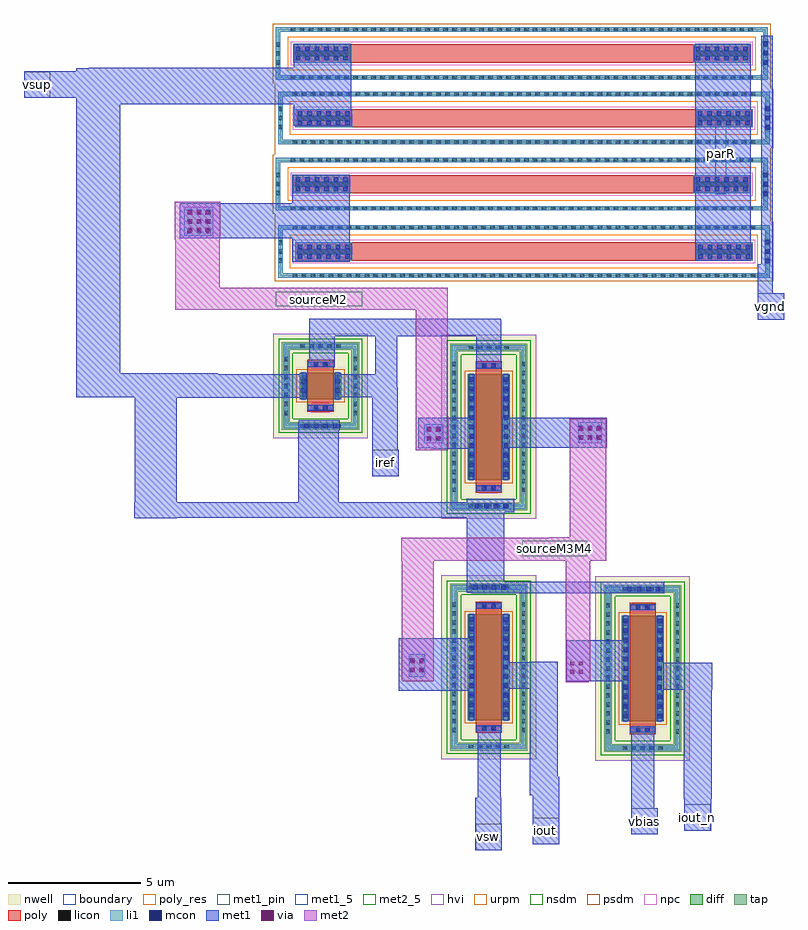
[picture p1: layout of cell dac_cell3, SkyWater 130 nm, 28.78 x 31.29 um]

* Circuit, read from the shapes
.subckt dac_cell3 iout iout_n iref parR sourceM2 sourceM3M4 vbias vgnd vsup vsw
XM1 iref iref vsup vsup sky130_fd_pr__pfet_g5v0d10v5 w=1 l=1
XM2 iout vsw sourceM3M4 vsup sky130_fd_pr__pfet_g5v0d10v5 w=4 l=1
XM3 sourceM3M4 iref sourceM2 vsup sky130_fd_pr__pfet_g5v0d10v5 w=4 l=1
XM4 iout_n vbias sourceM3M4 vsup sky130_fd_pr__pfet_g5v0d10v5 w=4 l=1
XR5 parR sourceM2 vgnd sky130_fd_pr__res_xhigh_po w=0.69 l=13 m=2
XR6 parR vsup vgnd sky130_fd_pr__res_xhigh_po w=0.69 l=13 m=2
.ends

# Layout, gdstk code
from math import pi, radians
import gdstk
lib = gdstk.Library(unit=1e-6, precision=1e-09)
def R(c, l, rs):  # rectangles x0, y0, x1, y1
    for r in rs: c.add(gdstk.rectangle(r[:2], r[2:], *l))
def A(c, l, x, y, w, h, nx, ny, dx, dy):  # array of equal rectangles
    R(c, l, [(x+i*dx, y+j*dy, x+i*dx+w, y+j*dy+h) for i in range(nx) for j in range(ny)])
nwell = (64, 20)
diff = (65, 20)
tap = (65, 44)
poly_res = (66, 13)
poly = (66, 20)
licon = (66, 44)
li1 = (67, 20)
mcon = (67, 44)
met1_5 = (68, 5)
met1_pin = (68, 16)
met1 = (68, 20)
via = (68, 44)
met2_5 = (69, 5)
met2 = (69, 20)
hvi = (75, 20)
urpm = (79, 20)
nsdm = (93, 44)
psdm = (94, 20)
npc = (95, 20)
boundary = (235, 4)

sky130_fd_pr__res_xhigh_ = lib.new_cell('sky130_fd_pr__res_xhigh_po_0p69_RV3JGD')
R(sky130_fd_pr__res_xhigh_, tap, [(-0.995,-9.31,0.995,-9.14), (-0.995,-9.14,-0.825,9.14), (0.825,-9.14,0.995,9.14), (-0.995,9.14,0.995,9.31)])
R(sky130_fd_pr__res_xhigh_, poly_res, [(-0.345,-6.56,0.345,6.56)])
R(sky130_fd_pr__res_xhigh_, poly, [(-0.345,-8.66,0.345,8.66)])
A(sky130_fd_pr__res_xhigh_, licon, -0.425, -9.31, 0.17, 0.17, 3, 2, 0.34, 18.45)
A(sky130_fd_pr__res_xhigh_, licon, -0.995, -8.755, 0.17, 0.17, 1, 52, 0, 0.34)
A(sky130_fd_pr__res_xhigh_, licon, 0.825, -8.755, 0.17, 0.17, 1, 52, 0, 0.34)
R(sky130_fd_pr__res_xhigh_, licon, [(-0.095,-8.58,0.095,-6.58), (-0.095,6.58,0.095,8.58)])
R(sky130_fd_pr__res_xhigh_, li1, [(-0.995,-9.31,0.995,-9.14), (-0.995,-9.14,-0.825,9.14), (0.825,-9.14,0.995,9.14), (-0.345,-8.66,0.345,-6.5), (-0.345,6.5,0.345,8.66), (-0.995,9.14,0.995,9.31)])
A(sky130_fd_pr__res_xhigh_, mcon, -0.265, -8.565, 0.17, 0.17, 1, 6, 0, 0.36)
A(sky130_fd_pr__res_xhigh_, mcon, 0.095, -8.565, 0.17, 0.17, 1, 6, 0, 0.36)
A(sky130_fd_pr__res_xhigh_, mcon, -0.265, 6.59, 0.17, 0.17, 1, 6, 0, 0.36)
A(sky130_fd_pr__res_xhigh_, mcon, 0.095, 6.59, 0.17, 0.17, 1, 6, 0, 0.36)
R(sky130_fd_pr__res_xhigh_, met1, [(-0.295,-8.63,0.295,-6.525), (-0.295,6.525,0.295,8.63)])
R(sky130_fd_pr__res_xhigh_, urpm, [(-0.635,-8.86,0.635,8.86)])
R(sky130_fd_pr__res_xhigh_, psdm, [(-1.12,-9.435,1.12,9.435)])
R(sky130_fd_pr__res_xhigh_, npc, [(-0.44,-8.755,0.44,8.755)])
R(sky130_fd_pr__res_xhigh_, boundary, [(-0.91,-9.225,0.91,9.225)])

sky130_fd_pr__pfet_g5v0d = lib.new_cell('sky130_fd_pr__pfet_g5v0d10v5_FGR8VM')
R(sky130_fd_pr__pfet_g5v0d, nwell, [(-1.79,-3.485,1.79,3.485)])
R(sky130_fd_pr__pfet_g5v0d, diff, [(-0.79,-2,0.79,2)])
R(sky130_fd_pr__pfet_g5v0d, tap, [(-1.46,-3.155,1.46,-2.865), (-1.46,-2.865,-1.17,2.865), (1.17,-2.865,1.46,2.865), (-1.46,2.865,1.46,3.155)])
R(sky130_fd_pr__pfet_g5v0d, poly, [(-0.5,-2.485,0.5,2.485)])
A(sky130_fd_pr__pfet_g5v0d, licon, -0.765, -3.095, 0.17, 0.17, 5, 2, 0.34, 6.02)
A(sky130_fd_pr__pfet_g5v0d, licon, -1.4, -2.465, 0.17, 0.17, 1, 15, 0, 0.34)
A(sky130_fd_pr__pfet_g5v0d, licon, 1.23, -2.465, 0.17, 0.17, 1, 15, 0, 0.34)
A(sky130_fd_pr__pfet_g5v0d, licon, -0.73, -1.785, 0.17, 0.17, 1, 11, 0, 0.34)
A(sky130_fd_pr__pfet_g5v0d, licon, 0.56, -1.785, 0.17, 0.17, 1, 11, 0, 0.34)
R(sky130_fd_pr__pfet_g5v0d, licon, [(-0.255,-2.405,-0.085,-2.235), (0.085,-2.405,0.255,-2.235), (-0.255,2.235,-0.085,2.405), (0.085,2.235,0.255,2.405)])
R(sky130_fd_pr__pfet_g5v0d, li1, [(-1.4,-3.095,1.4,-2.925), (-1.4,-2.925,-1.23,2.925), (1.23,-2.925,1.4,2.925), (-0.5,-2.405,0.5,-2.235), (-0.73,-2.02,-0.56,2.02), (0.56,-2.02,0.73,2.02), (-0.5,2.235,0.5,2.405), (-1.4,2.925,1.4,3.095)])
A(sky130_fd_pr__pfet_g5v0d, mcon, -0.73, -1.885, 0.17, 0.17, 1, 11, 0, 0.36)
A(sky130_fd_pr__pfet_g5v0d, mcon, 0.56, -1.885, 0.17, 0.17, 1, 11, 0, 0.36)
R(sky130_fd_pr__pfet_g5v0d, mcon, [(-0.265,-2.405,-0.095,-2.235), (0.095,-2.405,0.265,-2.235), (-0.265,2.235,-0.095,2.405), (0.095,2.235,0.265,2.405)])
R(sky130_fd_pr__pfet_g5v0d, met1, [(-0.48,-2.435,0.48,-2.205), (-0.76,-2,-0.53,2), (0.53,-2,0.76,2), (-0.48,2.205,0.48,2.435)])
R(sky130_fd_pr__pfet_g5v0d, hvi, [(-1.79,-3.485,1.79,3.485)])
R(sky130_fd_pr__pfet_g5v0d, nsdm, [(-1.585,-3.28,1.585,-2.74), (-1.585,-2.74,-1.045,2.74), (1.045,-2.74,1.585,2.74), (-1.585,2.74,1.585,3.28)])
R(sky130_fd_pr__pfet_g5v0d, psdm, [(-0.915,-2.125,0.915,2.125)])
R(sky130_fd_pr__pfet_g5v0d, npc, [(-0.355,-2.505,0.355,-2.135), (-0.355,2.135,0.355,2.505)])
R(sky130_fd_pr__pfet_g5v0d, boundary, [(-1.315,-3.01,1.315,3.01)])

c_sky130_fd_pr__pfet_g5v0d = lib.new_cell('sky130_fd_pr__pfet_g5v0d10v5_FGUWVM#2')
R(c_sky130_fd_pr__pfet_g5v0d, nwell, [(-1.79,-1.985,1.79,1.985)])
R(c_sky130_fd_pr__pfet_g5v0d, diff, [(-0.79,-0.5,0.79,0.5)])
R(c_sky130_fd_pr__pfet_g5v0d, tap, [(-1.46,-1.655,1.46,-1.365), (-1.46,-1.365,-1.17,1.365), (1.17,-1.365,1.46,1.365), (-1.46,1.365,1.46,1.655)])
R(c_sky130_fd_pr__pfet_g5v0d, poly, [(-0.5,-0.985,0.5,0.985)])
A(c_sky130_fd_pr__pfet_g5v0d, licon, -0.765, -1.595, 0.17, 0.17, 5, 2, 0.34, 3.02)
A(c_sky130_fd_pr__pfet_g5v0d, licon, -1.4, -1.105, 0.17, 0.17, 1, 7, 0, 0.34)
A(c_sky130_fd_pr__pfet_g5v0d, licon, 1.23, -1.105, 0.17, 0.17, 1, 7, 0, 0.34)
A(c_sky130_fd_pr__pfet_g5v0d, licon, -0.73, -0.425, 0.17, 0.17, 1, 3, 0, 0.34)
A(c_sky130_fd_pr__pfet_g5v0d, licon, 0.56, -0.425, 0.17, 0.17, 1, 3, 0, 0.34)
R(c_sky130_fd_pr__pfet_g5v0d, licon, [(-0.255,-0.905,-0.085,-0.735), (0.085,-0.905,0.255,-0.735), (-0.255,0.735,-0.085,0.905), (0.085,0.735,0.255,0.905)])
R(c_sky130_fd_pr__pfet_g5v0d, li1, [(-1.4,-1.595,1.4,-1.425), (-1.4,-1.425,-1.23,1.425), (1.23,-1.425,1.4,1.425), (-0.5,-0.905,0.5,-0.735), (-0.73,-0.52,-0.56,0.52), (0.56,-0.52,0.73,0.52), (-0.5,0.735,0.5,0.905), (-1.4,1.425,1.4,1.595)])
R(c_sky130_fd_pr__pfet_g5v0d, mcon, [(-0.265,-0.905,-0.095,-0.735), (0.095,-0.905,0.265,-0.735), (-0.73,-0.265,-0.56,-0.095), (0.56,-0.265,0.73,-0.095), (-0.73,0.095,-0.56,0.265), (0.56,0.095,0.73,0.265), (-0.265,0.735,-0.095,0.905), (0.095,0.735,0.265,0.905)])
R(c_sky130_fd_pr__pfet_g5v0d, met1, [(-0.48,-0.935,0.48,-0.705), (-0.76,-0.5,-0.53,0.5), (0.53,-0.5,0.76,0.5), (-0.48,0.705,0.48,0.935)])
R(c_sky130_fd_pr__pfet_g5v0d, hvi, [(-1.79,-1.985,1.79,1.985)])
R(c_sky130_fd_pr__pfet_g5v0d, nsdm, [(-1.585,-1.78,1.585,-1.24), (-1.585,-1.24,-1.045,1.24), (1.045,-1.24,1.585,1.24), (-1.585,1.24,1.585,1.78)])
R(c_sky130_fd_pr__pfet_g5v0d, psdm, [(-0.915,-0.625,0.915,0.625)])
R(c_sky130_fd_pr__pfet_g5v0d, npc, [(-0.355,-1.005,0.355,-0.635), (-0.355,0.635,0.355,1.005)])
R(c_sky130_fd_pr__pfet_g5v0d, boundary, [(-1.315,-1.51,1.315,1.51)])

dac_cell3 = lib.new_cell('dac_cell3')
R(dac_cell3, li1, [(-8.95,-4.02,-8.33,-3.17), (-0.81,-0.8,0.69,-0.62), (-6.64,-0.74,-5.18,-0.55), (-6.63,2.36,-5.04,2.53), (-8.37,4.81,-7.64,5.54), (-2.54,4.81,-1.64,5.61), (-12.96,5.39,-11.61,5.56), (4.53,11.56,4.73,12.6), (-17.45,12.67,-16.35,13.77), (4.46,14.1,4.66,15.14), (4.54,16.62,4.74,17.66), (4.46,19.07,4.66,20.11)])
A(dac_cell3, mcon, -0.685, -0.795, 0.17, 0.17, 4, 1, 0.36, 0)
A(dac_cell3, mcon, -6.535, -0.73, 0.17, 0.17, 4, 1, 0.36, 0)
A(dac_cell3, mcon, -6.46, 2.36, 0.17, 0.17, 4, 1, 0.36, 0)
A(dac_cell3, mcon, -2.535, 4.945, 0.17, 0.17, 3, 2, 0.36, 0.36)
A(dac_cell3, mcon, -12.91, 5.39, 0.17, 0.17, 4, 1, 0.36, 0)
A(dac_cell3, mcon, 4.545, 11.635, 0.17, 0.17, 1, 3, 0, 0.36)
A(dac_cell3, mcon, -17.345, 12.775, 0.17, 0.17, 3, 3, 0.36, 0.36)
A(dac_cell3, mcon, 4.475, 14.175, 0.17, 0.17, 1, 3, 0, 0.36)
A(dac_cell3, mcon, 4.555, 16.695, 0.17, 0.17, 1, 3, 0, 0.36)
A(dac_cell3, mcon, 4.475, 19.145, 0.17, 0.17, 1, 3, 0, 0.36)
R(dac_cell3, mcon, [(-8.905,-3.86,-8.735,-3.69), (-8.545,-3.86,-8.375,-3.69), (-8.905,-3.5,-8.735,-3.33), (-8.545,-3.5,-8.375,-3.33), (-8.27,4.91,-8.1,5.08), (-7.91,4.91,-7.74,5.08), (-8.27,5.27,-8.1,5.44), (-7.91,5.27,-7.74,5.44)])
R(dac_cell3, met1_5, [(2.65,14.25,3.08,17.33)])
R(dac_cell3, met1_pin, [(-6.42,-10.59,-5.42,-9.59), (-4.26,-10.36,-3.26,-9.36), (-0.53,-10,0.47,-9), (1.48,-9.85,2.48,-8.85), (-10.33,3.57,-9.33,4.57), (4.26,9.49,5.26,10.49), (-23.52,17.89,-22.52,18.89)])
R(dac_cell3, met1, [(-6.43,-10.59,-5.42,-9.59), (-4.26,-10.36,-3.26,-8.51), (-0.53,-10,0.47,-9), (1.48,-9.85,2.51,-8.64), (-6.43,-9.59,-5.45,-8.6), (-0.53,-9,0.35,-8.42), (1.47,-8.64,2.52,-4.52), (-6.34,-8.6,-5.47,-5.89), (-4.36,-8.51,-3.26,-7.82), (-0.52,-8.42,0.35,-5.91), (-4.36,-7.82,-3.31,-4.49), (-9.32,-4.56,-6.52,-2.57), (0.47,-4.52,2.54,-3.5), (-5.37,-4.49,-3.3,-3.47), (-2.98,-4.2,-0.63,-2.64), (-4.36,-3.47,-3.31,-3.45), (-0.88,-0.87,0.73,-0.86), (-6.57,-0.86,0.73,-0.85), (-6.74,-0.85,0.73,-0.83), (-6.75,-0.83,0.73,-0.42), (-6.75,-0.42,-5.33,2), (-19.33,1.98,-17.74,1.99), (-19.34,1.99,-12.58,2), (-19.34,2,-5.33,2.2), (-19.34,2.2,-4.95,2.58), (-19.33,2.58,-17.74,6.54), (-13.14,2.58,-11.61,5.3), (-6.75,2.58,-4.95,2.71), (-10.33,3.57,-9.33,4.57), (-10.33,4.57,-9.37,6.56), (-8,4.61,-6.49,4.63), (-8.59,4.63,-6.49,5.78), (-5.4,4.64,-1.46,5.79), (-13.14,5.3,-11.56,5.62), (-13.12,5.62,-11.56,5.68), (-19.33,6.54,-12.85,6.55), (-21.55,6.55,-12.85,7.42), (-11.73,6.56,-9.37,6.92), (-11.73,6.92,-9.38,7.43), (-21.55,7.42,-16.18,7.47), (-10.21,7.43,-9.38,8.87), (-21.55,7.47,-19.87,17.66), (-6.39,7.65,-5.45,8.87), (-12.72,7.7,-11.75,8.87), (-12.72,8.87,-5.45,9.5), (4.26,9.49,5.26,10.49), (-12.72,9.5,-5.46,9.53), (4.26,10.49,4.84,11.6), (4.39,11.6,4.84,20.25), (-13.36,11.69,-11.19,12.58), (1.89,11.72,4.01,19.95), (-17.63,12.58,-11.19,13.9), (-13.36,13.9,-11.19,14.99), (-13.31,16.84,-11.12,17.66), (-21.55,17.66,-11.12,17.89), (-23.52,17.89,-11.12,18.9), (-21.55,18.9,-11.12,19.02), (-21.05,19.02,-11.12,19.04), (-13.31,19.04,-11.12,19.95)])
A(dac_cell3, via, -2.485, 4.975, 0.15, 0.15, 3, 2, 0.32, 0.32)
A(dac_cell3, via, -17.295, 12.825, 0.15, 0.15, 3, 3, 0.32, 0.32)
R(dac_cell3, via, [(-2.825,-3.92,-2.675,-3.77), (-2.505,-3.92,-2.355,-3.77), (-8.875,-3.83,-8.725,-3.68), (-8.555,-3.83,-8.405,-3.68), (-2.825,-3.6,-2.675,-3.45), (-2.505,-3.6,-2.355,-3.45), (-8.875,-3.51,-8.725,-3.36), (-8.555,-3.51,-8.405,-3.36), (-8.24,4.94,-8.09,5.09), (-7.92,4.94,-7.77,5.09), (-8.24,5.26,-8.09,5.41), (-7.92,5.26,-7.77,5.41)])
R(dac_cell3, met2_5, [(-4.66,0.53,-2.19,1.12), (-13.99,10,-10.72,10.55)])
R(dac_cell3, met2, [(-3.01,-4.23,-2.13,-4.2), (-3.01,-4.2,-2.07,0.36), (-9.18,-4.19,-8.01,-4.16), (-9.21,-4.16,-8.01,0.36), (-9.24,0.36,-1.48,1.23), (-3.63,1.23,-1.48,1.25), (-2.85,1.25,-1.48,5.75), (-8.69,4.55,-7.47,4.58), (-8.69,4.58,-7.46,5.84), (-8.69,5.84,-7.47,9.87), (-17.79,9.87,-7.47,10.7), (-17.79,10.7,-16.11,12.55), (-17.81,12.55,-16.08,13.97)])
R(dac_cell3, psdm, [(-14.025,13.195,4.765,13.505), (-14.025,15.745,4.765,16.005), (-14.025,18.245,4.765,18.455)])
dac_cell3.add(gdstk.Reference(sky130_fd_pr__res_xhigh_, (-4.67,19.575), rotation=pi/2))
dac_cell3.add(gdstk.Reference(sky130_fd_pr__res_xhigh_, (-4.59,17.125), rotation=3*pi/2))
dac_cell3.add(gdstk.Reference(sky130_fd_pr__res_xhigh_, (-4.67,14.625), rotation=pi/2))
dac_cell3.add(gdstk.Reference(sky130_fd_pr__res_xhigh_, (-4.59,12.075), rotation=pi/2))
dac_cell3.add(gdstk.Reference(sky130_fd_pr__pfet_g5v0d, (-0.09,-3.715)))
dac_cell3.add(gdstk.Reference(sky130_fd_pr__pfet_g5v0d, (-5.92,-3.665)))
dac_cell3.add(gdstk.Reference(sky130_fd_pr__pfet_g5v0d, (-5.92,5.435)))
dac_cell3.add(gdstk.Reference(c_sky130_fd_pr__pfet_g5v0d, (-12.29,6.985)))
dac_cell3.add(gdstk.Label('sourceM2', (-12.355,10.275), layer=69, texttype=5))
dac_cell3.add(gdstk.Label('sourceM3M4', (-3.425,0.825), layer=69, texttype=5))
dac_cell3.add(gdstk.Label('parR', (2.865,15.79), layer=68, texttype=5))
dac_cell3.add(gdstk.Label('vsup', (-23.02,18.39), layer=68, texttype=16))
dac_cell3.add(gdstk.Label('vgnd', (4.76,9.99), layer=68, texttype=16))
dac_cell3.add(gdstk.Label('iref', (-9.83,4.07), layer=68, texttype=16))
dac_cell3.add(gdstk.Label('vsw', (-5.92,-10.09), layer=68, texttype=16))
dac_cell3.add(gdstk.Label('iout', (-3.76,-9.86), layer=68, texttype=16))
dac_cell3.add(gdstk.Label('iout_n', (1.98,-9.35), layer=68, texttype=16))
dac_cell3.add(gdstk.Label('vbias', (-0.03,-9.5), layer=68, texttype=16))

lib.write_gds('dac_cell3.gds')
